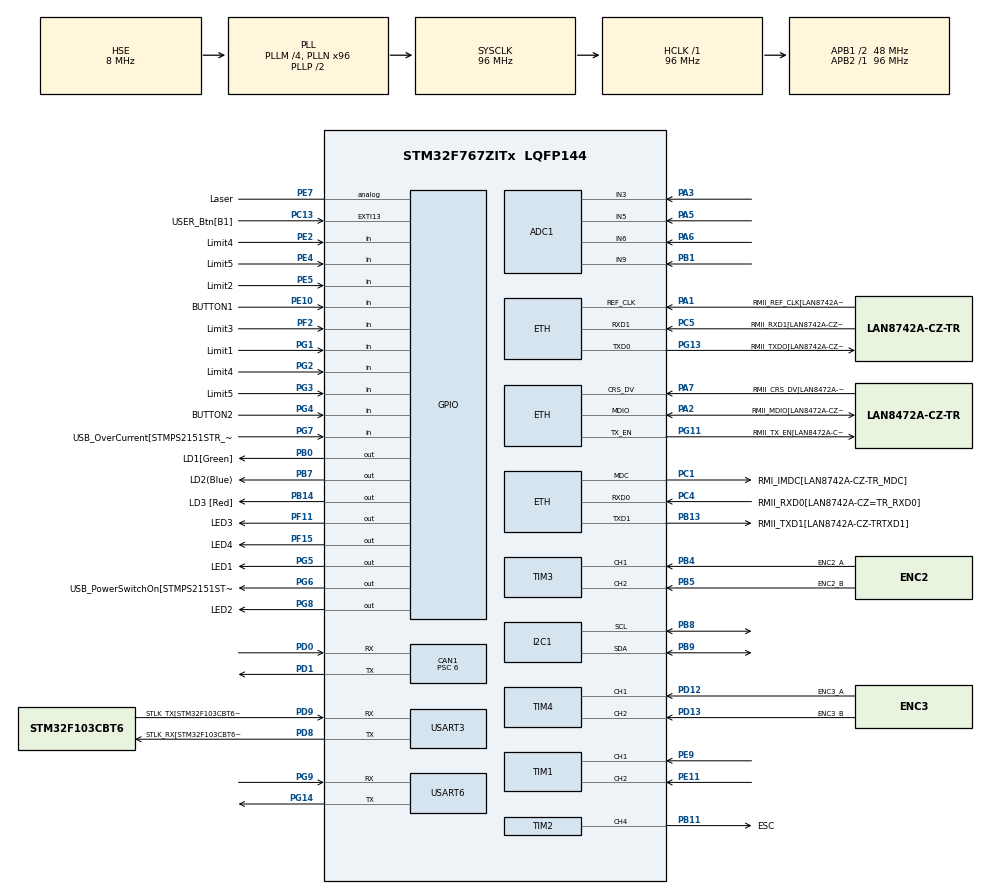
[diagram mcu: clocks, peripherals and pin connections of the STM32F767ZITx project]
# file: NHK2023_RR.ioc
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ADC1.Channel-0\#ChannelRegularConversion=ADC_CHANNEL_3
ADC1.Channel-1\#ChannelRegularConversion=ADC_CHANNEL_5
ADC1.Channel-2\#ChannelRegularConversion=ADC_CHANNEL_6
ADC1.Channel-3\#ChannelRegularConversion=ADC_CHANNEL_9
ADC1.ClockPrescaler=ADC_CLOCK_SYNC_PCLK_DIV4
ADC1.ContinuousConvMode=ENABLE
ADC1.DMAContinuousRequests=ENABLE
ADC1.DataAlign=ADC_DATAALIGN_RIGHT
ADC1.InjNumberOfConversion=0
ADC1.NbrOfConversion=4
ADC1.NbrOfConversionFlag=1
ADC1.Rank-0\#ChannelRegularConversion=1
ADC1.Rank-1\#ChannelRegularConversion=2
ADC1.Rank-2\#ChannelRegularConversion=3
ADC1.Rank-3\#ChannelRegularConversion=4
ADC1.SamplingTime-0\#ChannelRegularConversion=ADC_SAMPLETIME_480CYCLES
ADC1.SamplingTime-1\#ChannelRegularConversion=ADC_SAMPLETIME_112CYCLES
ADC1.SamplingTime-2\#ChannelRegularConversion=ADC_SAMPLETIME_112CYCLES
ADC1.SamplingTime-3\#ChannelRegularConversion=ADC_SAMPLETIME_112CYCLES
ADC1.master=1
CAN1.BS1=CAN_BS1_6TQ
CAN1.CalculateBaudRate=1000000
CAN1.CalculateTimeBit=1000.00
CAN1.CalculateTimeQuantum=125.0
CAN1.Prescaler=6
CAN1.TXFP=ENABLE
Dma.ADC1.1.Direction=DMA_PERIPH_TO_MEMORY
Dma.ADC1.1.FIFOMode=DMA_FIFOMODE_DISABLE
Dma.ADC1.1.Instance=DMA2_Stream0
Dma.ADC1.1.MemDataAlignment=DMA_MDATAALIGN_HALFWORD
Dma.ADC1.1.MemInc=DMA_MINC_ENABLE
Dma.ADC1.1.Mode=DMA_CIRCULAR
Dma.ADC1.1.PeriphDataAlignment=DMA_PDATAALIGN_HALFWORD
Dma.ADC1.1.PeriphInc=DMA_PINC_DISABLE
Dma.ADC1.1.Priority=DMA_PRIORITY_MEDIUM
Dma.Request0=USART3_TX
Dma.Request1=ADC1
Dma.Request2=USART6_TX
Dma.USART3_TX.0.Direction=DMA_MEMORY_TO_PERIPH
Dma.USART3_TX.0.FIFOMode=DMA_FIFOMODE_DISABLE
Dma.USART3_TX.0.Instance=DMA1_Stream3
Dma.USART3_TX.0.MemDataAlignment=DMA_MDATAALIGN_BYTE
Dma.USART3_TX.0.MemInc=DMA_MINC_ENABLE
Dma.USART3_TX.0.Mode=DMA_NORMAL
Dma.USART3_TX.0.PeriphDataAlignment=DMA_PDATAALIGN_BYTE
Dma.USART3_TX.0.PeriphInc=DMA_PINC_DISABLE
Dma.USART3_TX.0.Priority=DMA_PRIORITY_LOW
Dma.USART6_TX.2.Direction=DMA_MEMORY_TO_PERIPH
Dma.USART6_TX.2.FIFOMode=DMA_FIFOMODE_DISABLE
Dma.USART6_TX.2.Instance=DMA2_Stream6
Dma.USART6_TX.2.MemDataAlignment=DMA_MDATAALIGN_BYTE
Dma.USART6_TX.2.MemInc=DMA_MINC_ENABLE
Dma.USART6_TX.2.Mode=DMA_NORMAL
Dma.USART6_TX.2.PeriphDataAlignment=DMA_PDATAALIGN_BYTE
Dma.USART6_TX.2.PeriphInc=DMA_PINC_DISABLE
Dma.USART6_TX.2.Priority=DMA_PRIORITY_LOW
ETH.MediaInterface=ETH_MEDIA_INTERFACE_RMII
ETH.PhyAddress=0
ETH.RxMode=ETH_RXINTERRUPT_MODE
FREERTOS.Tasks01=defaultTask,0,512,StartDefaultTask,Default,NULL,Static,defaultTaskBuffer,defaultTaskControlBlock;SensorTask,2,256,StartSensorTask,Default,NULL,Static,SensorTaskBuffer,SensorTaskControlBlock;ControllerTask,-1,512,StartControllerTask,Default,NULL,Static,ControllerTaskBuffer,ControllerTaskControlBlock
FREERTOS.configENABLE_FPU=1
FREERTOS.configUSE_TIMERS=1
I2C1.Timing=0x20303E5D
LWIP.GATEWAY_ADDRESS=192.168.000.001
LWIP.IP_ADDRESS=192.168.000.020
LWIP.LWIP_DHCP=0
LWIP.NETMASK_ADDRESS=255.255.255.000
LWIP.Version=v2.1.2_Cube
Mcu.Family=STM32F7
Mcu.Name=STM32F767ZITx
Mcu.Package=LQFP144
NVIC.CAN1_RX0_IRQn=true\:5\:0\:false\:false\:true\:true\:true\:true
NVIC.CAN1_RX1_IRQn=true\:5\:0\:false\:false\:true\:true\:true\:true
NVIC.CAN1_TX_IRQn=true\:5\:0\:false\:false\:true\:true\:true\:true
NVIC.DMA1_Stream3_IRQn=true\:5\:0\:false\:false\:true\:true\:false\:true
NVIC.DMA2_Stream0_IRQn=true\:5\:0\:false\:false\:true\:true\:false\:true
NVIC.DMA2_Stream6_IRQn=true\:5\:0\:false\:false\:true\:true\:false\:true
NVIC.ETH_IRQn=true\:5\:0\:false\:false\:true\:true\:false\:true
NVIC.PriorityGroup=NVIC_PRIORITYGROUP_4
NVIC.TIM8_UP_TIM13_IRQn=true\:15\:0\:false\:false\:true\:false\:false\:true
NVIC.TimeBase=TIM8_UP_TIM13_IRQn
NVIC.TimeBaseIP=TIM13
NVIC.USART3_IRQn=true\:5\:0\:false\:false\:true\:true\:true\:true
PA0/WKUP.GPIO_Label=ENC1_A
PA0/WKUP.Signal=S_TIM2_CH1_ETR
PA1.GPIO_Label=RMII_REF_CLK[LAN8742A-CZ-TR_REFCLK0]
PA1.Mode=RMII
PA1.Signal=ETH_REF_CLK
PA11.GPIO_Label=USB_DM
PA11.Signal=USB_OTG_FS_DM
PA12.GPIO_Label=USB_DP
PA12.Signal=USB_OTG_FS_DP
PA13.GPIO_Label=TMS
PA13.Signal=SYS_JTMS-SWDIO
PA14.Signal=SYS_JTCK-SWCLK
PA2.GPIO_Label=RMII_MDIO[LAN8472A-CZ-TR_MDIO]
PA2.Mode=RMII
PA2.Signal=ETH_MDIO
PA3.Signal=ADCx_IN3
PA5.Signal=ADCx_IN5
PA6.Signal=ADCx_IN6
PA7.GPIO_Label=RMII_CRS_DV[LAN8472A-CZ-TR_CRS_DV]
PA7.Mode=RMII
PA7.Signal=ETH_CRS_DV
PA8.GPIO_Label=USB_SOF
PA8.Signal=USB_OTG_FS_SOF
PB0.GPIO_Label=LD1[Green]
PB0.Signal=GPIO_Output
PB1.Signal=ADCx_IN9
PB11.GPIO_Label=ESC
PB11.Signal=S_TIM2_CH4
PB13.GPIO_Label=RMII_TXD1[LAN8742A-CZ-TR\\TXD1]
PB13.Mode=RMII
PB13.Signal=ETH_TXD1
PB14.GPIO_Label=LD3 [Red]
PB14.Signal=GPIO_Output
PB4.GPIO_Label=ENC2_A
PB4.Signal=S_TIM3_CH1
PB5.GPIO_Label=ENC2_B
PB5.Signal=S_TIM3_CH2
PB7.GPIO_Label=LD2(Blue)
PB7.Signal=GPIO_Output
PB8.Mode=I2C
PB8.Signal=I2C1_SCL
PB9.Mode=I2C
PB9.Signal=I2C1_SDA
PC1.GPIO_Label=RMI_IMDC[LAN8742A-CZ-TR_MDC]
PC1.Mode=RMII
PC1.Signal=ETH_MDC
PC13.GPIO_Label=USER_Btn[B1]
PC13.Signal=GPXTI13
PC14/OSC32_IN.Mode=LSE-External-Oscillator
PC14/OSC32_IN.Signal=RCC_OSC32_IN
PC15/OSC32_OUT.Mode=LSE-External-Oscillator
PC15/OSC32_OUT.Signal=RCC_OSC32_OUT
PC4.GPIO_Label=RMII_RXD0[LAN8742A-CZ\=TR_RXD0]
PC4.Mode=RMII
PC4.Signal=ETH_RXD0
PC5.GPIO_Label=RMII_RXD1[LAN8742A-CZ-TR_RXD1]
PC5.Mode=RMII
PC5.Signal=ETH_RXD1
PD0.Mode=CAN_Activate
PD0.Signal=CAN1_RX
PD1.Mode=CAN_Activate
PD1.Signal=CAN1_TX
PD12.GPIO_Label=ENC3_A
PD12.Signal=S_TIM4_CH1
PD13.GPIO_Label=ENC3_B
PD13.Signal=S_TIM4_CH2
PD8.GPIO_Label=STLK_RX[STM32F103CBT6_PA3]
PD8.Mode=Asynchronous
PD8.Signal=USART3_TX
PD9.GPIO_Label=STLK_TX[STM32F103CBT6_PA2]
PD9.Mode=Asynchronous
PD9.Signal=USART3_RX
PE10.GPIO_Label=BUTTON1
PE10.Signal=GPIO_Input
PE11.Signal=S_TIM1_CH2
PE2.GPIO_Label=Limit4
PE2.Signal=GPIO_Input
PE4.GPIO_Label=Limit5
PE4.Signal=GPIO_Input
PE5.GPIO_Label=Limit2
PE5.Signal=GPIO_Input
PE7.GPIO_Label=Laser
PE7.Signal=GPIO_Analog
PE9.Signal=S_TIM1_CH1
PF11.GPIO_Label=LED3
PF11.Signal=GPIO_Output
PF15.GPIO_Label=LED4
PF15.Signal=GPIO_Output
PF2.GPIO_Label=Limit3
PF2.Signal=GPIO_Input
PG1.GPIO_Label=Limit1
PG1.Signal=GPIO_Input
PG11.GPIO_Label=RMII_TX_EN[LAN8472A-CZ-TR_TXEN]
PG11.Mode=RMII
PG11.Signal=ETH_TX_EN
PG13.GPIO_Label=RMII_TXDO[LAN8742A-CZ-TR_TXD0]
PG13.Mode=RMII
PG13.Signal=ETH_TXD0
PG14.Mode=Asynchronous
PG14.Signal=USART6_TX
PG2.GPIO_Label=Limit4
PG2.Signal=GPIO_Input
PG3.GPIO_Label=Limit5
PG3.Signal=GPIO_Input
PG4.GPIO_Label=BUTTON2
PG4.Signal=GPIO_Input
PG5.GPIO_Label=LED1
PG5.Signal=GPIO_Output
PG6.GPIO_Label=USB_PowerSwitchOn[STMPS2151STR_EN]
PG6.Signal=GPIO_Output
PG7.GPIO_Label=USB_OverCurrent[STMPS2151STR_FAULT]
PG7.Signal=GPIO_Input
PG8.GPIO_Label=LED2
PG8.Signal=GPIO_Output
PG9.Mode=Asynchronous
PG9.Signal=USART6_RX
PH0/OSC_IN.GPIO_Label=MCO[STM32F103CBT6_PA8]
PH0/OSC_IN.Mode=HSE-External-Clock-Source
PH0/OSC_IN.Signal=RCC_OSC_IN
PH1/OSC_OUT.Mode=HSE-External-Clock-Source
PH1/OSC_OUT.Signal=RCC_OSC_OUT
ProjectManager.HeapSize=0x200
ProjectManager.StackSize=0x400
ProjectManager.TargetToolchain=STM32CubeIDE
RCC.AHBFreq_Value=96000000
RCC.APB1CLKDivider=RCC_HCLK_DIV2
RCC.APB1Freq_Value=48000000
RCC.APB1TimFreq_Value=96000000
RCC.APB2Freq_Value=96000000
RCC.APB2TimFreq_Value=96000000
RCC.CortexFreq_Value=96000000
RCC.HCLKFreq_Value=96000000
RCC.HSE_VALUE=8000000
RCC.HSI_VALUE=16000000
RCC.PLL48CLockSelection=RCC_CLK48SOURCE_PLLSAIP
RCC.PLLM=4
RCC.PLLN=96
RCC.PLLQ=4
RCC.PLLSAIP=RCC_PLLSAIP_DIV4
RCC.PLLSourceVirtual=RCC_PLLSOURCE_HSE
RCC.SYSCLKFreq_VALUE=96000000
RCC.SYSCLKSource=RCC_SYSCLKSOURCE_PLLCLK
RCC.USBFreq_Value=96000000
RCC.VCOOutputFreq_Value=192000000
SH.ADCx_IN3.0=ADC1_IN3,IN3
SH.ADCx_IN5.0=ADC1_IN5,IN5
SH.ADCx_IN6.0=ADC1_IN6,IN6
SH.ADCx_IN9.0=ADC1_IN9,IN9
SH.S_TIM1_CH1.0=TIM1_CH1,Encoder_Interface
SH.S_TIM1_CH2.0=TIM1_CH2,Encoder_Interface
SH.S_TIM2_CH1_ETR.0=TIM2_CH1
SH.S_TIM2_CH4.0=TIM2_CH4,PWM Generation4 CH4
SH.S_TIM3_CH1.0=TIM3_CH1,Encoder_Interface
SH.S_TIM3_CH2.0=TIM3_CH2,Encoder_Interface
SH.S_TIM4_CH1.0=TIM4_CH1,Encoder_Interface
SH.S_TIM4_CH2.0=TIM4_CH2,Encoder_Interface
TIM2.Channel-PWM\ Generation4\ CH4=TIM_CHANNEL_4
TIM2.Period=1920000
TIM4.EncoderMode=TIM_ENCODERMODE_TI12
USART3.VirtualMode-Asynchronous=VM_ASYNC
USART6.VirtualMode-Asynchronous=VM_ASYNC
VP_FREERTOS_VS_CMSIS_V1.Mode=CMSIS_V1
VP_LWIP_VS_Enabled.Mode=Enabled
VP_SYS_VS_tim13.Mode=TIM13
board=custom

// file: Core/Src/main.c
/* USER CODE BEGIN Header */
/**
  ******************************************************************************
  * @file           : main.c
  * @brief          : Main program body
  ******************************************************************************
  * @attention
  *
  * <h2><center>&copy; Copyright (c) 2023 STMicroelectronics.
  * All rights reserved.</center></h2>
  *
  * This software component is licensed by ST under Ultimate Liberty license
  * SLA0044, the "License"; You may not use this file except in compliance with
  * the License. You may obtain a copy of the License at:
  *                             www.st.com/SLA0044
  *
  ******************************************************************************
  */
/* USER CODE END Header */
#include "main.h"
#include "cmsis_os.h"
#include "lwip.h"
#include "rtos_udp.h"
/* USER CODE BEGIN Includes */
#include "dma_printf.h"
#include "etharp.h"
/* USER CODE END Includes */

ADC_HandleTypeDef hadc1;
DMA_HandleTypeDef hdma_adc1;

CAN_HandleTypeDef hcan1;

I2C_HandleTypeDef hi2c1;

TIM_HandleTypeDef htim1;
TIM_HandleTypeDef htim2;
TIM_HandleTypeDef htim3;
TIM_HandleTypeDef htim4;

UART_HandleTypeDef huart3;
UART_HandleTypeDef huart6;
DMA_HandleTypeDef hdma_usart3_tx;
DMA_HandleTypeDef hdma_usart6_tx;

osThreadId defaultTaskHandle;
uint32_t defaultTaskBuffer[ 512 ];
osStaticThreadDef_t defaultTaskControlBlock;
osThreadId SensorTaskHandle;
uint32_t SensorTaskBuffer[ 256 ];
osStaticThreadDef_t SensorTaskControlBlock;
osThreadId ControllerTaskHandle;
uint32_t ControllerTaskBuffer[ 512 ];
osStaticThreadDef_t ControllerTaskControlBlock;

void SystemClock_Config(void);
static void MX_GPIO_Init(void);
static void MX_DMA_Init(void);
static void MX_USART3_UART_Init(void);
static void MX_CAN1_Init(void);
static void MX_I2C1_Init(void);
static void MX_TIM2_Init(void);
static void MX_ADC1_Init(void);
static void MX_USART6_UART_Init(void);
static void MX_TIM1_Init(void);
static void MX_TIM3_Init(void);
static void MX_TIM4_Init(void);
void StartDefaultTask(void const * argument);
void StartSensorTask(void const * argument);
void StartControllerTask(void const * argument);

/* USER CODE BEGIN PFP */
static struct receive_data ros_data = { };
static struct send_data f7_data = { };
/* USER CODE END PFP */

/* USER CODE BEGIN 0 */
#ifdef __GNUC__
#define PUTCHAR_PROTOTYPE int __io_putchar(uint8_t ch)
#else
#define PUTCHAR_PROTOTYPE int fputc(int ch, FILE *f)
#endif /* __GNUC__ */

PUTCHAR_PROTOTYPE
{
  HAL_UART_Transmit(&huart3, &ch, 1, 500);
  return ch;
}

/* USER CODE END 0 */

int main(void)
{

  /* MCU Configuration--------------------------------------------------------*/

  /* Reset of all peripherals, Initializes the Flash interface and the Systick. */
  HAL_Init();

  /* Configure the system clock */
  SystemClock_Config();

  /* Initialize all configured peripherals */
  MX_GPIO_Init();
  MX_DMA_Init();
  MX_USART3_UART_Init();
  MX_CAN1_Init();
  MX_I2C1_Init();
  MX_TIM2_Init();
  MX_ADC1_Init();
  MX_USART6_UART_Init();
  MX_TIM1_Init();
  MX_TIM3_Init();
  MX_TIM4_Init();
  /* USER CODE BEGIN 2 */
  setbuf(stdout, NULL);
  setbuf(stderr, NULL);
  HAL_Delay(50);
  dma_printf_init(&huart3);
  HAL_Delay(50);
  printf("enter main function\r\n");
  /* USER CODE END 2 */

  /* Create the thread(s) */
  /* definition and creation of defaultTask */
  osThreadStaticDef(defaultTask, StartDefaultTask, osPriorityNormal, 0, 512, defaultTaskBuffer, &defaultTaskControlBlock);
  defaultTaskHandle = osThreadCreate(osThread(defaultTask), NULL);

  /* definition and creation of SensorTask */
  osThreadStaticDef(SensorTask, StartSensorTask, osPriorityNormal, 0, 256, SensorTaskBuffer, &SensorTaskControlBlock);
  SensorTaskHandle = osThreadCreate(osThread(SensorTask), NULL);

  /* definition and creation of ControllerTask */
  osThreadStaticDef(ControllerTask, StartControllerTask, osPriorityNormal, 0, 512, ControllerTaskBuffer, &ControllerTaskControlBlock);
  ControllerTaskHandle = osThreadCreate(osThread(ControllerTask), NULL);

  /* USER CODE BEGIN RTOS_THREADS */
  /* add threads, ... */
  UDPDefineTasks();
  /* USER CODE END RTOS_THREADS */

  /* Start scheduler */
  osKernelStart();

  /* We should never get here as control is now taken by the scheduler */
  /* Infinite loop */
  while (1)
  {
  }
}

void SystemClock_Config(void)
{
  RCC_OscInitTypeDef RCC_OscInitStruct = {0};
  RCC_ClkInitTypeDef RCC_ClkInitStruct = {0};
  RCC_PeriphCLKInitTypeDef PeriphClkInitStruct = {0};

  /** Configure LSE Drive Capability
  */
  HAL_PWR_EnableBkUpAccess();
  /** Configure the main internal regulator output voltage
  */
  __HAL_RCC_PWR_CLK_ENABLE();
  __HAL_PWR_VOLTAGESCALING_CONFIG(PWR_REGULATOR_VOLTAGE_SCALE3);
  /** Initializes the RCC Oscillators according to the specified parameters
  * in the RCC_OscInitTypeDef structure.
  */
  RCC_OscInitStruct.OscillatorType = RCC_OSCILLATORTYPE_HSE;
  RCC_OscInitStruct.HSEState = RCC_HSE_BYPASS;
  RCC_OscInitStruct.PLL.PLLState = RCC_PLL_ON;
  RCC_OscInitStruct.PLL.PLLSource = RCC_PLLSOURCE_HSE;
  RCC_OscInitStruct.PLL.PLLM = 4;
  RCC_OscInitStruct.PLL.PLLN = 96;
  RCC_OscInitStruct.PLL.PLLP = RCC_PLLP_DIV2;
  RCC_OscInitStruct.PLL.PLLQ = 4;
  RCC_OscInitStruct.PLL.PLLR = 2;
  if (HAL_RCC_OscConfig(&RCC_OscInitStruct) != HAL_OK)
  {
    Error_Handler();
  }
  /** Activate the Over-Drive mode
  */
  if (HAL_PWREx_EnableOverDrive() != HAL_OK)
  {
    Error_Handler();
  }
  /** Initializes the CPU, AHB and APB buses clocks
  */
  RCC_ClkInitStruct.ClockType = RCC_CLOCKTYPE_HCLK|RCC_CLOCKTYPE_SYSCLK
                              |RCC_CLOCKTYPE_PCLK1|RCC_CLOCKTYPE_PCLK2;
  RCC_ClkInitStruct.SYSCLKSource = RCC_SYSCLKSOURCE_PLLCLK;
  RCC_ClkInitStruct.AHBCLKDivider = RCC_SYSCLK_DIV1;
  RCC_ClkInitStruct.APB1CLKDivider = RCC_HCLK_DIV2;
  RCC_ClkInitStruct.APB2CLKDivider = RCC_HCLK_DIV1;

  if (HAL_RCC_ClockConfig(&RCC_ClkInitStruct, FLASH_LATENCY_3) != HAL_OK)
  {
    Error_Handler();
  }
  PeriphClkInitStruct.PeriphClockSelection = RCC_PERIPHCLK_USART3|RCC_PERIPHCLK_USART6
                              |RCC_PERIPHCLK_I2C1;
  PeriphClkInitStruct.Usart3ClockSelection = RCC_USART3CLKSOURCE_PCLK1;
  PeriphClkInitStruct.Usart6ClockSelection = RCC_USART6CLKSOURCE_PCLK2;
  PeriphClkInitStruct.I2c1ClockSelection = RCC_I2C1CLKSOURCE_PCLK1;
  if (HAL_RCCEx_PeriphCLKConfig(&PeriphClkInitStruct) != HAL_OK)
  {
    Error_Handler();
  }
}

static void MX_ADC1_Init(void)
{

  ADC_ChannelConfTypeDef sConfig = {0};

  /** Configure the global features of the ADC (Clock, Resolution, Data Alignment and number of conversion)
  */
  hadc1.Instance = ADC1;
  hadc1.Init.ClockPrescaler = ADC_CLOCK_SYNC_PCLK_DIV4;
  hadc1.Init.Resolution = ADC_RESOLUTION_12B;
  hadc1.Init.ScanConvMode = ADC_SCAN_ENABLE;
  hadc1.Init.ContinuousConvMode = ENABLE;
  hadc1.Init.DiscontinuousConvMode = DISABLE;
  hadc1.Init.ExternalTrigConvEdge = ADC_EXTERNALTRIGCONVEDGE_NONE;
  hadc1.Init.ExternalTrigConv = ADC_SOFTWARE_START;
  hadc1.Init.DataAlign = ADC_DATAALIGN_RIGHT;
  hadc1.Init.NbrOfConversion = 4;
  hadc1.Init.DMAContinuousRequests = ENABLE;
  hadc1.Init.EOCSelection = ADC_EOC_SINGLE_CONV;
  if (HAL_ADC_Init(&hadc1) != HAL_OK)
  {
    Error_Handler();
  }
  /** Configure for the selected ADC regular channel its corresponding rank in the sequencer and its sample time.
  */
  sConfig.Channel = ADC_CHANNEL_3;
  sConfig.Rank = ADC_REGULAR_RANK_1;
  sConfig.SamplingTime = ADC_SAMPLETIME_480CYCLES;
  if (HAL_ADC_ConfigChannel(&hadc1, &sConfig) != HAL_OK)
  {
    Error_Handler();
  }
  /** Configure for the selected ADC regular channel its corresponding rank in the sequencer and its sample time.
  */
  sConfig.Channel = ADC_CHANNEL_5;
  sConfig.Rank = ADC_REGULAR_RANK_2;
  sConfig.SamplingTime = ADC_SAMPLETIME_112CYCLES;
  if (HAL_ADC_ConfigChannel(&hadc1, &sConfig) != HAL_OK)
  {
    Error_Handler();
  }
  /** Configure for the selected ADC regular channel its corresponding rank in the sequencer and its sample time.
  */
  sConfig.Channel = ADC_CHANNEL_6;
  sConfig.Rank = ADC_REGULAR_RANK_3;
  if (HAL_ADC_ConfigChannel(&hadc1, &sConfig) != HAL_OK)
  {
    Error_Handler();
  }
  /** Configure for the selected ADC regular channel its corresponding rank in the sequencer and its sample time.
  */
  sConfig.Channel = ADC_CHANNEL_9;
  sConfig.Rank = ADC_REGULAR_RANK_4;
  if (HAL_ADC_ConfigChannel(&hadc1, &sConfig) != HAL_OK)
  {
    Error_Handler();
  }

}

static void MX_CAN1_Init(void)
{

  hcan1.Instance = CAN1;
  hcan1.Init.Prescaler = 6;
  hcan1.Init.Mode = CAN_MODE_NORMAL;
  hcan1.Init.SyncJumpWidth = CAN_SJW_1TQ;
  hcan1.Init.TimeSeg1 = CAN_BS1_6TQ;
  hcan1.Init.TimeSeg2 = CAN_BS2_1TQ;
  hcan1.Init.TimeTriggeredMode = DISABLE;
  hcan1.Init.AutoBusOff = DISABLE;
  hcan1.Init.AutoWakeUp = DISABLE;
  hcan1.Init.AutoRetransmission = DISABLE;
  hcan1.Init.ReceiveFifoLocked = DISABLE;
  hcan1.Init.TransmitFifoPriority = ENABLE;
  if (HAL_CAN_Init(&hcan1) != HAL_OK)
  {
    Error_Handler();
  }

}

static void MX_I2C1_Init(void)
{

  hi2c1.Instance = I2C1;
  hi2c1.Init.Timing = 0x20303E5D;
  hi2c1.Init.OwnAddress1 = 0;
  hi2c1.Init.AddressingMode = I2C_ADDRESSINGMODE_7BIT;
  hi2c1.Init.DualAddressMode = I2C_DUALADDRESS_DISABLE;
  hi2c1.Init.OwnAddress2 = 0;
  hi2c1.Init.OwnAddress2Masks = I2C_OA2_NOMASK;
  hi2c1.Init.GeneralCallMode = I2C_GENERALCALL_DISABLE;
  hi2c1.Init.NoStretchMode = I2C_NOSTRETCH_DISABLE;
  if (HAL_I2C_Init(&hi2c1) != HAL_OK)
  {
    Error_Handler();
  }
  /** Configure Analogue filter
  */
  if (HAL_I2CEx_ConfigAnalogFilter(&hi2c1, I2C_ANALOGFILTER_ENABLE) != HAL_OK)
  {
    Error_Handler();
  }
  /** Configure Digital filter
  */
  if (HAL_I2CEx_ConfigDigitalFilter(&hi2c1, 0) != HAL_OK)
  {
    Error_Handler();
  }

}

static void MX_TIM1_Init(void)
{

  TIM_Encoder_InitTypeDef sConfig = {0};
  TIM_MasterConfigTypeDef sMasterConfig = {0};

  htim1.Instance = TIM1;
  htim1.Init.Prescaler = 0;
  htim1.Init.CounterMode = TIM_COUNTERMODE_UP;
  htim1.Init.Period = 65535;
  htim1.Init.ClockDivision = TIM_CLOCKDIVISION_DIV1;
  htim1.Init.RepetitionCounter = 0;
  htim1.Init.AutoReloadPreload = TIM_AUTORELOAD_PRELOAD_DISABLE;
  sConfig.EncoderMode = TIM_ENCODERMODE_TI1;
  sConfig.IC1Polarity = TIM_ICPOLARITY_RISING;
  sConfig.IC1Selection = TIM_ICSELECTION_DIRECTTI;
  sConfig.IC1Prescaler = TIM_ICPSC_DIV1;
  sConfig.IC1Filter = 0;
  sConfig.IC2Polarity = TIM_ICPOLARITY_RISING;
  sConfig.IC2Selection = TIM_ICSELECTION_DIRECTTI;
  sConfig.IC2Prescaler = TIM_ICPSC_DIV1;
  sConfig.IC2Filter = 0;
  if (HAL_TIM_Encoder_Init(&htim1, &sConfig) != HAL_OK)
  {
    Error_Handler();
  }
  sMasterConfig.MasterOutputTrigger = TIM_TRGO_RESET;
  sMasterConfig.MasterOutputTrigger2 = TIM_TRGO2_RESET;
  sMasterConfig.MasterSlaveMode = TIM_MASTERSLAVEMODE_DISABLE;
  if (HAL_TIMEx_MasterConfigSynchronization(&htim1, &sMasterConfig) != HAL_OK)
  {
    Error_Handler();
  }

}

static void MX_TIM2_Init(void)
{

  TIM_MasterConfigTypeDef sMasterConfig = {0};
  TIM_OC_InitTypeDef sConfigOC = {0};

  htim2.Instance = TIM2;
  htim2.Init.Prescaler = 0;
  htim2.Init.CounterMode = TIM_COUNTERMODE_UP;
  htim2.Init.Period = 1920000;
  htim2.Init.ClockDivision = TIM_CLOCKDIVISION_DIV1;
  htim2.Init.AutoReloadPreload = TIM_AUTORELOAD_PRELOAD_DISABLE;
  if (HAL_TIM_PWM_Init(&htim2) != HAL_OK)
  {
    Error_Handler();
  }
  sMasterConfig.MasterOutputTrigger = TIM_TRGO_RESET;
  sMasterConfig.MasterSlaveMode = TIM_MASTERSLAVEMODE_DISABLE;
  if (HAL_TIMEx_MasterConfigSynchronization(&htim2, &sMasterConfig) != HAL_OK)
  {
    Error_Handler();
  }
  sConfigOC.OCMode = TIM_OCMODE_PWM1;
  sConfigOC.Pulse = 0;
  sConfigOC.OCPolarity = TIM_OCPOLARITY_HIGH;
  sConfigOC.OCFastMode = TIM_OCFAST_DISABLE;
  if (HAL_TIM_PWM_ConfigChannel(&htim2, &sConfigOC, TIM_CHANNEL_4) != HAL_OK)
  {
    Error_Handler();
  }
  HAL_TIM_MspPostInit(&htim2);

}

static void MX_TIM3_Init(void)
{

  TIM_Encoder_InitTypeDef sConfig = {0};
  TIM_MasterConfigTypeDef sMasterConfig = {0};

  htim3.Instance = TIM3;
  htim3.Init.Prescaler = 0;
  htim3.Init.CounterMode = TIM_COUNTERMODE_UP;
  htim3.Init.Period = 65535;
  htim3.Init.ClockDivision = TIM_CLOCKDIVISION_DIV1;
  htim3.Init.AutoReloadPreload = TIM_AUTORELOAD_PRELOAD_DISABLE;
  sConfig.EncoderMode = TIM_ENCODERMODE_TI1;
  sConfig.IC1Polarity = TIM_ICPOLARITY_RISING;
  sConfig.IC1Selection = TIM_ICSELECTION_DIRECTTI;
  sConfig.IC1Prescaler = TIM_ICPSC_DIV1;
  sConfig.IC1Filter = 0;
  sConfig.IC2Polarity = TIM_ICPOLARITY_RISING;
  sConfig.IC2Selection = TIM_ICSELECTION_DIRECTTI;
  sConfig.IC2Prescaler = TIM_ICPSC_DIV1;
  sConfig.IC2Filter = 0;
  if (HAL_TIM_Encoder_Init(&htim3, &sConfig) != HAL_OK)
  {
    Error_Handler();
  }
  sMasterConfig.MasterOutputTrigger = TIM_TRGO_RESET;
  sMasterConfig.MasterSlaveMode = TIM_MASTERSLAVEMODE_DISABLE;
  if (HAL_TIMEx_MasterConfigSynchronization(&htim3, &sMasterConfig) != HAL_OK)
  {
    Error_Handler();
  }

}

static void MX_TIM4_Init(void)
{

  TIM_Encoder_InitTypeDef sConfig = {0};
  TIM_MasterConfigTypeDef sMasterConfig = {0};

  htim4.Instance = TIM4;
  htim4.Init.Prescaler = 0;
  htim4.Init.CounterMode = TIM_COUNTERMODE_UP;
  htim4.Init.Period = 65535;
  htim4.Init.ClockDivision = TIM_CLOCKDIVISION_DIV1;
  htim4.Init.AutoReloadPreload = TIM_AUTORELOAD_PRELOAD_DISABLE;
  sConfig.EncoderMode = TIM_ENCODERMODE_TI12;
  sConfig.IC1Polarity = TIM_ICPOLARITY_RISING;
  sConfig.IC1Selection = TIM_ICSELECTION_DIRECTTI;
  sConfig.IC1Prescaler = TIM_ICPSC_DIV1;
  sConfig.IC1Filter = 0;
  sConfig.IC2Polarity = TIM_ICPOLARITY_RISING;
  sConfig.IC2Selection = TIM_ICSELECTION_DIRECTTI;
  sConfig.IC2Prescaler = TIM_ICPSC_DIV1;
  sConfig.IC2Filter = 0;
  if (HAL_TIM_Encoder_Init(&htim4, &sConfig) != HAL_OK)
  {
    Error_Handler();
  }
  sMasterConfig.MasterOutputTrigger = TIM_TRGO_RESET;
  sMasterConfig.MasterSlaveMode = TIM_MASTERSLAVEMODE_DISABLE;
  if (HAL_TIMEx_MasterConfigSynchronization(&htim4, &sMasterConfig) != HAL_OK)
  {
    Error_Handler();
  }

}

static void MX_USART3_UART_Init(void)
{

  huart3.Instance = USART3;
  huart3.Init.BaudRate = 115200;
  huart3.Init.WordLength = UART_WORDLENGTH_8B;
  huart3.Init.StopBits = UART_STOPBITS_1;
  huart3.Init.Parity = UART_PARITY_NONE;
  huart3.Init.Mode = UART_MODE_TX_RX;
  huart3.Init.HwFlowCtl = UART_HWCONTROL_NONE;
  huart3.Init.OverSampling = UART_OVERSAMPLING_16;
  huart3.Init.OneBitSampling = UART_ONE_BIT_SAMPLE_DISABLE;
  huart3.AdvancedInit.AdvFeatureInit = UART_ADVFEATURE_NO_INIT;
  if (HAL_UART_Init(&huart3) != HAL_OK)
  {
    Error_Handler();
  }

}

static void MX_USART6_UART_Init(void)
{

  huart6.Instance = USART6;
  huart6.Init.BaudRate = 115200;
  huart6.Init.WordLength = UART_WORDLENGTH_8B;
  huart6.Init.StopBits = UART_STOPBITS_1;
  huart6.Init.Parity = UART_PARITY_NONE;
  huart6.Init.Mode = UART_MODE_TX_RX;
  huart6.Init.HwFlowCtl = UART_HWCONTROL_NONE;
  huart6.Init.OverSampling = UART_OVERSAMPLING_16;
  huart6.Init.OneBitSampling = UART_ONE_BIT_SAMPLE_DISABLE;
  huart6.AdvancedInit.AdvFeatureInit = UART_ADVFEATURE_NO_INIT;
  if (HAL_UART_Init(&huart6) != HAL_OK)
  {
    Error_Handler();
  }

}

static void MX_DMA_Init(void)
{

  /* DMA controller clock enable */
  __HAL_RCC_DMA1_CLK_ENABLE();
  __HAL_RCC_DMA2_CLK_ENABLE();

  /* DMA interrupt init */
  /* DMA1_Stream3_IRQn interrupt configuration */
  HAL_NVIC_SetPriority(DMA1_Stream3_IRQn, 5, 0);
  HAL_NVIC_EnableIRQ(DMA1_Stream3_IRQn);
  /* DMA2_Stream0_IRQn interrupt configuration */
  HAL_NVIC_SetPriority(DMA2_Stream0_IRQn, 5, 0);
  HAL_NVIC_EnableIRQ(DMA2_Stream0_IRQn);
  /* DMA2_Stream6_IRQn interrupt configuration */
  HAL_NVIC_SetPriority(DMA2_Stream6_IRQn, 5, 0);
  HAL_NVIC_EnableIRQ(DMA2_Stream6_IRQn);

}

static void MX_GPIO_Init(void)
{
  GPIO_InitTypeDef GPIO_InitStruct = {0};

  /* GPIO Ports Clock Enable */
  __HAL_RCC_GPIOE_CLK_ENABLE();
  __HAL_RCC_GPIOC_CLK_ENABLE();
  __HAL_RCC_GPIOF_CLK_ENABLE();
  __HAL_RCC_GPIOH_CLK_ENABLE();
  __HAL_RCC_GPIOA_CLK_ENABLE();
  __HAL_RCC_GPIOB_CLK_ENABLE();
  __HAL_RCC_GPIOG_CLK_ENABLE();
  __HAL_RCC_GPIOD_CLK_ENABLE();

  /*Configure GPIO pin Output Level */
  HAL_GPIO_WritePin(GPIOB, LD1_Pin|LD3_Pin|LD2_Pin, GPIO_PIN_RESET);

  /*Configure GPIO pin Output Level */
  HAL_GPIO_WritePin(GPIOF, LED3_Pin|LED4_Pin, GPIO_PIN_RESET);

  /*Configure GPIO pin Output Level */
  HAL_GPIO_WritePin(GPIOG, LED1_Pin|USB_PowerSwitchOn_Pin|LED2_Pin, GPIO_PIN_RESET);

  /*Configure GPIO pins : Limit4_Pin Limit5_Pin Limit2_Pin BUTTON1_Pin */
  GPIO_InitStruct.Pin = Limit4_Pin|Limit5_Pin|Limit2_Pin|BUTTON1_Pin;
  GPIO_InitStruct.Mode = GPIO_MODE_INPUT;
  GPIO_InitStruct.Pull = GPIO_NOPULL;
  HAL_GPIO_Init(GPIOE, &GPIO_InitStruct);

  /*Configure GPIO pin : USER_Btn_Pin */
  GPIO_InitStruct.Pin = USER_Btn_Pin;
  GPIO_InitStruct.Mode = GPIO_MODE_IT_RISING;
  GPIO_InitStruct.Pull = GPIO_NOPULL;
  HAL_GPIO_Init(USER_Btn_GPIO_Port, &GPIO_InitStruct);

  /*Configure GPIO pin : Limit3_Pin */
  GPIO_InitStruct.Pin = Limit3_Pin;
  GPIO_InitStruct.Mode = GPIO_MODE_INPUT;
  GPIO_InitStruct.Pull = GPIO_NOPULL;
  HAL_GPIO_Init(Limit3_GPIO_Port, &GPIO_InitStruct);

  /*Configure GPIO pins : LD1_Pin LD3_Pin LD2_Pin */
  GPIO_InitStruct.Pin = LD1_Pin|LD3_Pin|LD2_Pin;
  GPIO_InitStruct.Mode = GPIO_MODE_OUTPUT_PP;
  GPIO_InitStruct.Pull = GPIO_NOPULL;
  GPIO_InitStruct.Speed = GPIO_SPEED_FREQ_LOW;
  HAL_GPIO_Init(GPIOB, &GPIO_InitStruct);

  /*Configure GPIO pins : LED3_Pin LED4_Pin */
  GPIO_InitStruct.Pin = LED3_Pin|LED4_Pin;
  GPIO_InitStruct.Mode = GPIO_MODE_OUTPUT_PP;
  GPIO_InitStruct.Pull = GPIO_NOPULL;
  GPIO_InitStruct.Speed = GPIO_SPEED_FREQ_LOW;
  HAL_GPIO_Init(GPIOF, &GPIO_InitStruct);

  /*Configure GPIO pins : Limit1_Pin Limit4G2_Pin Limit5G3_Pin BUTTON2_Pin
                           USB_OverCurrent_Pin */
  GPIO_InitStruct.Pin = Limit1_Pin|Limit4G2_Pin|Limit5G3_Pin|BUTTON2_Pin
                          |USB_OverCurrent_Pin;
  GPIO_InitStruct.Mode = GPIO_MODE_INPUT;
  GPIO_InitStruct.Pull = GPIO_NOPULL;
  HAL_GPIO_Init(GPIOG, &GPIO_InitStruct);

  /*Configure GPIO pin : Laser_Pin */
  GPIO_InitStruct.Pin = Laser_Pin;
  GPIO_InitStruct.Mode = GPIO_MODE_ANALOG;
  GPIO_InitStruct.Pull = GPIO_NOPULL;
  HAL_GPIO_Init(Laser_GPIO_Port, &GPIO_InitStruct);

  /*Configure GPIO pins : LED1_Pin USB_PowerSwitchOn_Pin LED2_Pin */
  GPIO_InitStruct.Pin = LED1_Pin|USB_PowerSwitchOn_Pin|LED2_Pin;
  GPIO_InitStruct.Mode = GPIO_MODE_OUTPUT_PP;
  GPIO_InitStruct.Pull = GPIO_NOPULL;
  GPIO_InitStruct.Speed = GPIO_SPEED_FREQ_LOW;
  HAL_GPIO_Init(GPIOG, &GPIO_InitStruct);

  /*Configure GPIO pins : USB_SOF_Pin USB_DM_Pin USB_DP_Pin */
  GPIO_InitStruct.Pin = USB_SOF_Pin|USB_DM_Pin|USB_DP_Pin;
  GPIO_InitStruct.Mode = GPIO_MODE_AF_PP;
  GPIO_InitStruct.Pull = GPIO_NOPULL;
  GPIO_InitStruct.Speed = GPIO_SPEED_FREQ_VERY_HIGH;
  GPIO_InitStruct.Alternate = GPIO_AF10_OTG_FS;
  HAL_GPIO_Init(GPIOA, &GPIO_InitStruct);

}

/* USER CODE BEGIN 4 */
extern struct netif gnetif;
/* USER CODE END 4 */

void StartDefaultTask(void const * argument)
{
  /* init code for LWIP */
  MX_LWIP_Init();
  /* USER CODE BEGIN 5 */
  /* Infinite loop */
  for(;;){
//	etharp_gratuitous(&gnetif);
	 f7_data.omni_x = 0.44f;
	 f7_data.omni_y = 0.55f;
	 f7_data.hat_shoulder_success = 1;
	 f7_data.sword_A_shoulder_success = 1;
	 f7_data.sword_B_shoulder_success = 1;
	 f7_data.launcher_linear_success = 1;
	 UDP_SendF7Data(&f7_data);
	 ros_data = UDP_GetROSData();
	 printf("omni1:%f\r\nomni2:%f\r\nomni3:%f\r\nomni4:%f\r\n", ros_data.omni1_power, ros_data.omni2_power, ros_data.omni3_power, ros_data.omni4_power); //試験的に出力
    osDelay(100);
  }
  /* USER CODE END 5 */
}

void StartSensorTask(void const * argument)
{
  /* USER CODE BEGIN StartSensorTask */
  /* Infinite loop */
  for(;;)
  {
    osDelay(100);
  }
  /* USER CODE END StartSensorTask */
}

void StartControllerTask(void const * argument)
{
  /* USER CODE BEGIN StartControllerTask */
  /* Infinite loop */
  for(;;)
  {
    osDelay(100);
  }
  /* USER CODE END StartControllerTask */
}

void HAL_TIM_PeriodElapsedCallback(TIM_HandleTypeDef *htim)
{
  if (htim->Instance == TIM13) {
    HAL_IncTick();
  }
}

void Error_Handler(void)
{
  __disable_irq();
  while (1)
  {
  }
}

/************************ (C) COPYRIGHT STMicroelectronics *****END OF FILE****/
